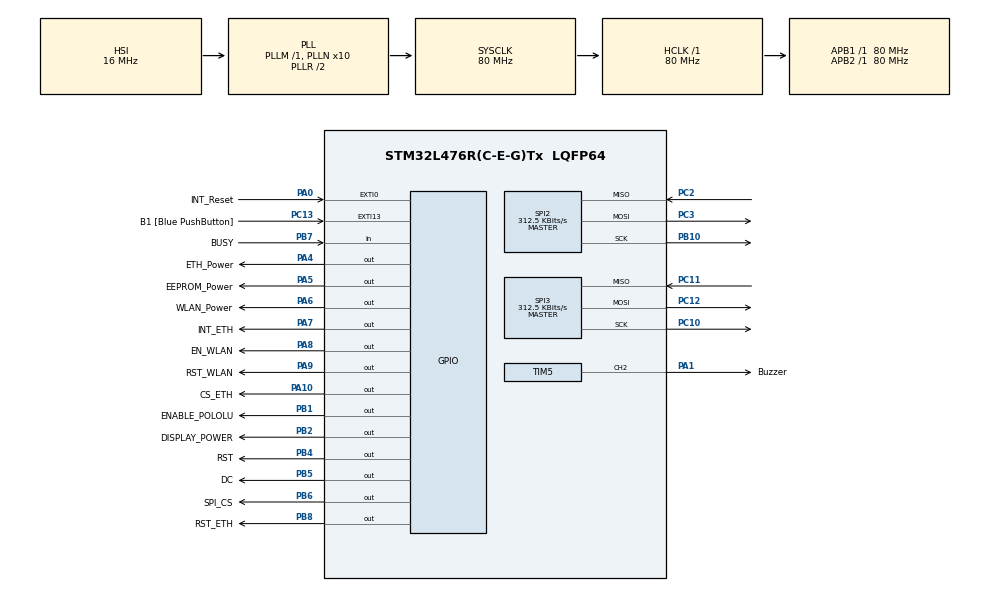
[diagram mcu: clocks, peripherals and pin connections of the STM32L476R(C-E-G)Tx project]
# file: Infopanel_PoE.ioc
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Mcu.Family=STM32L4
Mcu.Name=STM32L476R(C-E-G)Tx
Mcu.Package=LQFP64
NVIC.EXTI0_IRQn=true\:5\:0\:true\:false\:true\:true\:true\:true
NVIC.PriorityGroup=NVIC_PRIORITYGROUP_4
NVIC.SPI2_IRQn=true\:0\:0\:false\:false\:true\:true\:true\:true
NVIC.SPI3_IRQn=true\:0\:0\:false\:false\:true\:true\:true\:true
NVIC.TIM1_BRK_TIM15_IRQn=true\:0\:0\:false\:false\:true\:true\:true\:true
NVIC.TIM2_IRQn=true\:0\:0\:false\:false\:true\:true\:true\:true
NVIC.TIM3_IRQn=true\:0\:0\:false\:false\:true\:true\:true\:true
NVIC.TIM5_IRQn=true\:0\:0\:false\:false\:true\:true\:true\:true
PA0.GPIO_Label=INT_Reset
PA0.Signal=GPXTI0
PA1.GPIO_Label=Buzzer
PA1.Signal=S_TIM5_CH2
PA10.GPIO_Label=CS_ETH
PA10.Signal=GPIO_Output
PA13\ (JTMS-SWDIO).GPIO_Label=TMS
PA13\ (JTMS-SWDIO).Mode=Serial_Wire
PA13\ (JTMS-SWDIO).Signal=SYS_JTMS-SWDIO
PA14\ (JTCK-SWCLK).GPIO_Label=TCK
PA14\ (JTCK-SWCLK).Mode=Serial_Wire
PA14\ (JTCK-SWCLK).Signal=SYS_JTCK-SWCLK
PA2.GPIO_Label=USART_TX
PA2.GPIO_Mode=GPIO_MODE_AF_PP
PA2.GPIO_PuPd=GPIO_NOPULL
PA2.GPIO_Speed=GPIO_SPEED_FREQ_VERY_HIGH
PA2.Signal=USART2_TX
PA3.GPIO_Label=USART_RX
PA3.GPIO_Mode=GPIO_MODE_AF_PP
PA3.GPIO_PuPd=GPIO_NOPULL
PA3.GPIO_Speed=GPIO_SPEED_FREQ_VERY_HIGH
PA3.Signal=USART2_RX
PA4.GPIO_Label=ETH_Power
PA4.Signal=GPIO_Output
PA5.GPIO_Label=EEPROM_Power
PA5.Signal=GPIO_Output
PA6.GPIO_Label=WLAN_Power
PA6.Signal=GPIO_Output
PA7.GPIO_Label=INT_ETH
PA7.Signal=GPIO_Output
PA8.GPIO_Label=EN_WLAN
PA8.Signal=GPIO_Output
PA9.GPIO_Label=RST_WLAN
PA9.Signal=GPIO_Output
PB1.GPIO_Label=ENABLE_POLOLU
PB1.Signal=GPIO_Output
PB10.Mode=Full_Duplex_Master
PB10.Signal=SPI2_SCK
PB2.GPIO_Label=DISPLAY_POWER
PB2.Signal=GPIO_Output
PB3\ (JTDO-TRACESWO).GPIO_Label=SWO
PB3\ (JTDO-TRACESWO).Signal=SYS_JTDO-SWO
PB4\ (NJTRST).GPIO_Label=RST
PB4\ (NJTRST).Signal=GPIO_Output
PB5.GPIO_Label=DC
PB5.Signal=GPIO_Output
PB6.GPIO_Label=SPI_CS
PB6.Signal=GPIO_Output
PB7.GPIO_Label=BUSY
PB7.Signal=GPIO_Input
PB8.GPIO_Label=RST_ETH
PB8.Signal=GPIO_Output
PC10.Mode=Full_Duplex_Master
PC10.Signal=SPI3_SCK
PC11.Mode=Full_Duplex_Master
PC11.Signal=SPI3_MISO
PC12.Mode=Full_Duplex_Master
PC12.Signal=SPI3_MOSI
PC13.GPIO_Label=B1 [Blue PushButton]
PC13.GPIO_ModeDefaultEXTI=GPIO_MODE_IT_FALLING
PC13.GPIO_PuPd=GPIO_NOPULL
PC13.Signal=GPXTI13
PC14-OSC32_IN\ (PC14).Mode=LSE-External-Oscillator
PC14-OSC32_IN\ (PC14).Signal=RCC_OSC32_IN
PC15-OSC32_OUT\ (PC15).Mode=LSE-External-Oscillator
PC15-OSC32_OUT\ (PC15).Signal=RCC_OSC32_OUT
PC2.Mode=Full_Duplex_Master
PC2.Signal=SPI2_MISO
PC3.Mode=Full_Duplex_Master
PC3.Signal=SPI2_MOSI
PH0-OSC_IN\ (PH0).Signal=RCC_OSC_IN
PH1-OSC_OUT\ (PH1).Signal=RCC_OSC_OUT
ProjectManager.HeapSize=0x200
ProjectManager.StackSize=0x400
ProjectManager.TargetToolchain=STM32CubeIDE
RCC.ADCFreq_Value=64000000
RCC.AHBFreq_Value=80000000
RCC.APB1Freq_Value=80000000
RCC.APB1TimFreq_Value=80000000
RCC.APB2Freq_Value=80000000
RCC.APB2TimFreq_Value=80000000
RCC.CortexFreq_Value=80000000
RCC.HCLKFreq_Value=80000000
RCC.HSE_VALUE=8000000
RCC.HSI_VALUE=16000000
RCC.MSI_VALUE=4000000
RCC.PLLN=10
RCC.PLLSourceVirtual=RCC_PLLSOURCE_HSI
RCC.PREFETCH_ENABLE=1
RCC.SYSCLKFreq_VALUE=80000000
RCC.SYSCLKSource=RCC_SYSCLKSOURCE_PLLCLK
RCC.USBFreq_Value=64000000
RCC.VCOOutputFreq_Value=160000000
SH.S_TIM5_CH2.0=TIM5_CH2,PWM Generation2 CH2
SPI2.BaudRatePrescaler=SPI_BAUDRATEPRESCALER_256
SPI2.CalculateBaudRate=312.5 KBits/s
SPI2.DataSize=SPI_DATASIZE_8BIT
SPI2.Direction=SPI_DIRECTION_2LINES
SPI2.Mode=SPI_MODE_MASTER
SPI2.VirtualType=VM_MASTER
SPI3.BaudRatePrescaler=SPI_BAUDRATEPRESCALER_256
SPI3.CalculateBaudRate=312.5 KBits/s
SPI3.DataSize=SPI_DATASIZE_8BIT
SPI3.Direction=SPI_DIRECTION_2LINES
SPI3.Mode=SPI_MODE_MASTER
SPI3.VirtualType=VM_MASTER
TIM1.Period=1000
TIM1.Prescaler=1
TIM2.Period=900000000
TIM2.Prescaler=80
TIM3.Period=100
TIM5.Channel-PWM\ Generation2\ CH2=TIM_CHANNEL_2
TIM5.Period=1000-1
TIM5.Prescaler=40-1
TIM5.Pulse-PWM\ Generation2\ CH2=500
VP_RTC_VS_RTC_Activate.Mode=RTC_Enabled
VP_TIM1_VS_ClockSourceINT.Mode=Internal
VP_TIM2_VS_ClockSourceINT.Mode=Internal
VP_TIM3_VS_ClockSourceINT.Mode=Internal
VP_TIM5_VS_ClockSourceINT.Mode=Internal
board=NUCLEO-L476RG

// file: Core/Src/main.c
/* USER CODE BEGIN Header */
/**
  ******************************************************************************
  * @file           : main.c
  * @brief          : Main program body
  ******************************************************************************
  * @attention
  *
  * Copyright (c) 2023 STMicroelectronics.
  * All rights reserved.
  *
  * This software is licensed under terms that can be found in the LICENSE file
  * in the root directory of this software component.
  * If no LICENSE file comes with this software, it is provided AS-IS.
  *
  ******************************************************************************
  */
/* USER CODE END Header */
#include "main.h"

/* USER CODE BEGIN Includes */

#include <stdio.h>
#include "string.h"
#include "stdlib.h"
#include "stm32l4xx_hal.h"
#include "EPD_7in5_V2.h"
#include "GUI_Paint.h"
#include "../../Fonts/fonts.h"
#include "skins.h"
#include "communication.h"
#include "device.h"

/* USER CODE END Includes */

RTC_HandleTypeDef hrtc;

SPI_HandleTypeDef hspi2;
SPI_HandleTypeDef hspi3;

TIM_HandleTypeDef htim1;
TIM_HandleTypeDef htim2;
TIM_HandleTypeDef htim3;
TIM_HandleTypeDef htim5;

void SystemClock_Config(void);
static void MX_GPIO_Init(void);
static void MX_SPI2_Init(void);
static void MX_SPI3_Init(void);
static void MX_RTC_Init(void);
static void MX_TIM1_Init(void);
static void MX_TIM2_Init(void);
static void MX_TIM3_Init(void);
static void MX_TIM5_Init(void);

/* USER CODE BEGIN 0 */
int i = 0;

/* USER CODE END 0 */

int main(void)
{

  /* MCU Configuration--------------------------------------------------------*/

  /* Reset of all peripherals, Initializes the Flash interface and the Systick. */
  HAL_Init();

  /* Configure the system clock */
  SystemClock_Config();

  /* Initialize all configured peripherals */
  MX_GPIO_Init();
  MX_SPI2_Init();
  MX_SPI3_Init();
  MX_RTC_Init();
  MX_TIM1_Init();
  MX_TIM2_Init();
  MX_TIM3_Init();
  MX_TIM5_Init();
  /* USER CODE BEGIN 2 */
  HAL_GPIO_WritePin(WLAN_Power_GPIO_Port, WLAN_Power_Pin, 1);
  HAL_Delay(10);
  __HAL_TIM_CLEAR_FLAG(&htim2, TIM_FLAG_UPDATE);

  HAL_TIM_Base_Start_IT(&htim2);

  //
  HAL_PWR_EnableBkUpAccess(); // Zugriff auf Backup-Register aktivieren
  if (HAL_RTCEx_BKUPRead(&hrtc, RTC_BKP_DR1) == 0x1234)
  {
	  Buzzer(200);
	  HAL_RTCEx_BKUPWrite(&hrtc, RTC_BKP_DR1, 0x0);
  }

  HAL_GPIO_WritePin(RST_ETH_GPIO_Port, RST_ETH_Pin, 0);
  HAL_GPIO_WritePin(ETH_Power_GPIO_Port, ETH_Power_Pin, 1);
  HAL_Delay(500);
  HAL_GPIO_WritePin(ETH_Power_GPIO_Port, ETH_Power_Pin, 0);
  HAL_GPIO_WritePin(EEPROM_Power_GPIO_Port, EEPROM_Power_Pin, 0);

  u8Init_Ethernet();
  HAL_Delay(100);
  /* USER CODE END 2 */

  /* Infinite loop */
  while (1)
  {

    /* USER CODE BEGIN 3 */
	u8Connection_Loop();
  }
  /* USER CODE END 3 */
}

void SystemClock_Config(void)
{
  RCC_OscInitTypeDef RCC_OscInitStruct = {0};
  RCC_ClkInitTypeDef RCC_ClkInitStruct = {0};

  /** Configure the main internal regulator output voltage
  */
  if (HAL_PWREx_ControlVoltageScaling(PWR_REGULATOR_VOLTAGE_SCALE1) != HAL_OK)
  {
    Error_Handler();
  }

  /** Initializes the RCC Oscillators according to the specified parameters
  * in the RCC_OscInitTypeDef structure.
  */
  RCC_OscInitStruct.OscillatorType = RCC_OSCILLATORTYPE_HSI|RCC_OSCILLATORTYPE_LSI;
  RCC_OscInitStruct.HSIState = RCC_HSI_ON;
  RCC_OscInitStruct.HSICalibrationValue = RCC_HSICALIBRATION_DEFAULT;
  RCC_OscInitStruct.LSIState = RCC_LSI_ON;
  RCC_OscInitStruct.PLL.PLLState = RCC_PLL_ON;
  RCC_OscInitStruct.PLL.PLLSource = RCC_PLLSOURCE_HSI;
  RCC_OscInitStruct.PLL.PLLM = 1;
  RCC_OscInitStruct.PLL.PLLN = 10;
  RCC_OscInitStruct.PLL.PLLP = RCC_PLLP_DIV7;
  RCC_OscInitStruct.PLL.PLLQ = RCC_PLLQ_DIV2;
  RCC_OscInitStruct.PLL.PLLR = RCC_PLLR_DIV2;
  if (HAL_RCC_OscConfig(&RCC_OscInitStruct) != HAL_OK)
  {
    Error_Handler();
  }

  /** Initializes the CPU, AHB and APB buses clocks
  */
  RCC_ClkInitStruct.ClockType = RCC_CLOCKTYPE_HCLK|RCC_CLOCKTYPE_SYSCLK
                              |RCC_CLOCKTYPE_PCLK1|RCC_CLOCKTYPE_PCLK2;
  RCC_ClkInitStruct.SYSCLKSource = RCC_SYSCLKSOURCE_PLLCLK;
  RCC_ClkInitStruct.AHBCLKDivider = RCC_SYSCLK_DIV1;
  RCC_ClkInitStruct.APB1CLKDivider = RCC_HCLK_DIV1;
  RCC_ClkInitStruct.APB2CLKDivider = RCC_HCLK_DIV1;

  if (HAL_RCC_ClockConfig(&RCC_ClkInitStruct, FLASH_LATENCY_4) != HAL_OK)
  {
    Error_Handler();
  }
}

static void MX_RTC_Init(void)
{

  /** Initialize RTC Only
  */
  hrtc.Instance = RTC;
  hrtc.Init.HourFormat = RTC_HOURFORMAT_24;
  hrtc.Init.AsynchPrediv = 127;
  hrtc.Init.SynchPrediv = 255;
  hrtc.Init.OutPut = RTC_OUTPUT_DISABLE;
  hrtc.Init.OutPutRemap = RTC_OUTPUT_REMAP_NONE;
  hrtc.Init.OutPutPolarity = RTC_OUTPUT_POLARITY_HIGH;
  hrtc.Init.OutPutType = RTC_OUTPUT_TYPE_OPENDRAIN;
  if (HAL_RTC_Init(&hrtc) != HAL_OK)
  {
    Error_Handler();
  }

}

static void MX_SPI2_Init(void)
{

  /* SPI2 parameter configuration*/
  hspi2.Instance = SPI2;
  hspi2.Init.Mode = SPI_MODE_MASTER;
  hspi2.Init.Direction = SPI_DIRECTION_2LINES;
  hspi2.Init.DataSize = SPI_DATASIZE_8BIT;
  hspi2.Init.CLKPolarity = SPI_POLARITY_LOW;
  hspi2.Init.CLKPhase = SPI_PHASE_1EDGE;
  hspi2.Init.NSS = SPI_NSS_SOFT;
  hspi2.Init.BaudRatePrescaler = SPI_BAUDRATEPRESCALER_256;
  hspi2.Init.FirstBit = SPI_FIRSTBIT_MSB;
  hspi2.Init.TIMode = SPI_TIMODE_DISABLE;
  hspi2.Init.CRCCalculation = SPI_CRCCALCULATION_DISABLE;
  hspi2.Init.CRCPolynomial = 7;
  hspi2.Init.CRCLength = SPI_CRC_LENGTH_DATASIZE;
  hspi2.Init.NSSPMode = SPI_NSS_PULSE_ENABLE;
  if (HAL_SPI_Init(&hspi2) != HAL_OK)
  {
    Error_Handler();
  }

}

static void MX_SPI3_Init(void)
{

  /* SPI3 parameter configuration*/
  hspi3.Instance = SPI3;
  hspi3.Init.Mode = SPI_MODE_MASTER;
  hspi3.Init.Direction = SPI_DIRECTION_2LINES;
  hspi3.Init.DataSize = SPI_DATASIZE_8BIT;
  hspi3.Init.CLKPolarity = SPI_POLARITY_LOW;
  hspi3.Init.CLKPhase = SPI_PHASE_1EDGE;
  hspi3.Init.NSS = SPI_NSS_SOFT;
  hspi3.Init.BaudRatePrescaler = SPI_BAUDRATEPRESCALER_256;
  hspi3.Init.FirstBit = SPI_FIRSTBIT_MSB;
  hspi3.Init.TIMode = SPI_TIMODE_DISABLE;
  hspi3.Init.CRCCalculation = SPI_CRCCALCULATION_DISABLE;
  hspi3.Init.CRCPolynomial = 7;
  hspi3.Init.CRCLength = SPI_CRC_LENGTH_DATASIZE;
  hspi3.Init.NSSPMode = SPI_NSS_PULSE_ENABLE;
  if (HAL_SPI_Init(&hspi3) != HAL_OK)
  {
    Error_Handler();
  }

}

static void MX_TIM1_Init(void)
{

  TIM_ClockConfigTypeDef sClockSourceConfig = {0};
  TIM_MasterConfigTypeDef sMasterConfig = {0};

  htim1.Instance = TIM1;
  htim1.Init.Prescaler = 1;
  htim1.Init.CounterMode = TIM_COUNTERMODE_UP;
  htim1.Init.Period = 1000;
  htim1.Init.ClockDivision = TIM_CLOCKDIVISION_DIV1;
  htim1.Init.RepetitionCounter = 0;
  htim1.Init.AutoReloadPreload = TIM_AUTORELOAD_PRELOAD_DISABLE;
  if (HAL_TIM_Base_Init(&htim1) != HAL_OK)
  {
    Error_Handler();
  }
  sClockSourceConfig.ClockSource = TIM_CLOCKSOURCE_INTERNAL;
  if (HAL_TIM_ConfigClockSource(&htim1, &sClockSourceConfig) != HAL_OK)
  {
    Error_Handler();
  }
  sMasterConfig.MasterOutputTrigger = TIM_TRGO_RESET;
  sMasterConfig.MasterOutputTrigger2 = TIM_TRGO2_RESET;
  sMasterConfig.MasterSlaveMode = TIM_MASTERSLAVEMODE_DISABLE;
  if (HAL_TIMEx_MasterConfigSynchronization(&htim1, &sMasterConfig) != HAL_OK)
  {
    Error_Handler();
  }

}

static void MX_TIM2_Init(void)
{

  TIM_ClockConfigTypeDef sClockSourceConfig = {0};
  TIM_MasterConfigTypeDef sMasterConfig = {0};

  htim2.Instance = TIM2;
  htim2.Init.Prescaler = 80;
  htim2.Init.CounterMode = TIM_COUNTERMODE_UP;
  htim2.Init.Period = 900000000;
  htim2.Init.ClockDivision = TIM_CLOCKDIVISION_DIV1;
  htim2.Init.AutoReloadPreload = TIM_AUTORELOAD_PRELOAD_DISABLE;
  if (HAL_TIM_Base_Init(&htim2) != HAL_OK)
  {
    Error_Handler();
  }
  sClockSourceConfig.ClockSource = TIM_CLOCKSOURCE_INTERNAL;
  if (HAL_TIM_ConfigClockSource(&htim2, &sClockSourceConfig) != HAL_OK)
  {
    Error_Handler();
  }
  sMasterConfig.MasterOutputTrigger = TIM_TRGO_RESET;
  sMasterConfig.MasterSlaveMode = TIM_MASTERSLAVEMODE_DISABLE;
  if (HAL_TIMEx_MasterConfigSynchronization(&htim2, &sMasterConfig) != HAL_OK)
  {
    Error_Handler();
  }

}

static void MX_TIM3_Init(void)
{

  TIM_ClockConfigTypeDef sClockSourceConfig = {0};
  TIM_MasterConfigTypeDef sMasterConfig = {0};

  htim3.Instance = TIM3;
  htim3.Init.Prescaler = 0;
  htim3.Init.CounterMode = TIM_COUNTERMODE_UP;
  htim3.Init.Period = 100;
  htim3.Init.ClockDivision = TIM_CLOCKDIVISION_DIV1;
  htim3.Init.AutoReloadPreload = TIM_AUTORELOAD_PRELOAD_DISABLE;
  if (HAL_TIM_Base_Init(&htim3) != HAL_OK)
  {
    Error_Handler();
  }
  sClockSourceConfig.ClockSource = TIM_CLOCKSOURCE_INTERNAL;
  if (HAL_TIM_ConfigClockSource(&htim3, &sClockSourceConfig) != HAL_OK)
  {
    Error_Handler();
  }
  sMasterConfig.MasterOutputTrigger = TIM_TRGO_RESET;
  sMasterConfig.MasterSlaveMode = TIM_MASTERSLAVEMODE_DISABLE;
  if (HAL_TIMEx_MasterConfigSynchronization(&htim3, &sMasterConfig) != HAL_OK)
  {
    Error_Handler();
  }

}

static void MX_TIM5_Init(void)
{

  TIM_ClockConfigTypeDef sClockSourceConfig = {0};
  TIM_MasterConfigTypeDef sMasterConfig = {0};
  TIM_OC_InitTypeDef sConfigOC = {0};

  htim5.Instance = TIM5;
  htim5.Init.Prescaler = 40-1;
  htim5.Init.CounterMode = TIM_COUNTERMODE_UP;
  htim5.Init.Period = 1000-1;
  htim5.Init.ClockDivision = TIM_CLOCKDIVISION_DIV1;
  htim5.Init.AutoReloadPreload = TIM_AUTORELOAD_PRELOAD_DISABLE;
  if (HAL_TIM_Base_Init(&htim5) != HAL_OK)
  {
    Error_Handler();
  }
  sClockSourceConfig.ClockSource = TIM_CLOCKSOURCE_INTERNAL;
  if (HAL_TIM_ConfigClockSource(&htim5, &sClockSourceConfig) != HAL_OK)
  {
    Error_Handler();
  }
  if (HAL_TIM_PWM_Init(&htim5) != HAL_OK)
  {
    Error_Handler();
  }
  sMasterConfig.MasterOutputTrigger = TIM_TRGO_RESET;
  sMasterConfig.MasterSlaveMode = TIM_MASTERSLAVEMODE_DISABLE;
  if (HAL_TIMEx_MasterConfigSynchronization(&htim5, &sMasterConfig) != HAL_OK)
  {
    Error_Handler();
  }
  sConfigOC.OCMode = TIM_OCMODE_PWM1;
  sConfigOC.Pulse = 500;
  sConfigOC.OCPolarity = TIM_OCPOLARITY_HIGH;
  sConfigOC.OCFastMode = TIM_OCFAST_DISABLE;
  if (HAL_TIM_PWM_ConfigChannel(&htim5, &sConfigOC, TIM_CHANNEL_2) != HAL_OK)
  {
    Error_Handler();
  }
  HAL_TIM_MspPostInit(&htim5);

}

static void MX_GPIO_Init(void)
{
  GPIO_InitTypeDef GPIO_InitStruct = {0};

  /* GPIO Ports Clock Enable */
  __HAL_RCC_GPIOC_CLK_ENABLE();
  __HAL_RCC_GPIOH_CLK_ENABLE();
  __HAL_RCC_GPIOA_CLK_ENABLE();
  __HAL_RCC_GPIOB_CLK_ENABLE();

  /*Configure GPIO pin Output Level */
  HAL_GPIO_WritePin(GPIOA, ETH_Power_Pin|EEPROM_Power_Pin|WLAN_Power_Pin|INT_ETH_Pin
                          |EN_WLAN_Pin|RST_WLAN_Pin|CS_ETH_Pin, GPIO_PIN_RESET);

  /*Configure GPIO pin Output Level */
  HAL_GPIO_WritePin(GPIOB, ENABLE_POLOLU_Pin|DISPLAY_POWER_Pin|RST_Pin|DC_Pin
                          |SPI_CS_Pin|RST_ETH_Pin, GPIO_PIN_RESET);

  /*Configure GPIO pin : B1_Pin */
  GPIO_InitStruct.Pin = B1_Pin;
  GPIO_InitStruct.Mode = GPIO_MODE_IT_FALLING;
  GPIO_InitStruct.Pull = GPIO_NOPULL;
  HAL_GPIO_Init(B1_GPIO_Port, &GPIO_InitStruct);

  /*Configure GPIO pin : INT_Reset_Pin */
  GPIO_InitStruct.Pin = INT_Reset_Pin;
  GPIO_InitStruct.Mode = GPIO_MODE_IT_RISING;
  GPIO_InitStruct.Pull = GPIO_NOPULL;
  HAL_GPIO_Init(INT_Reset_GPIO_Port, &GPIO_InitStruct);

  /*Configure GPIO pins : USART_TX_Pin USART_RX_Pin */
  GPIO_InitStruct.Pin = USART_TX_Pin|USART_RX_Pin;
  GPIO_InitStruct.Mode = GPIO_MODE_AF_PP;
  GPIO_InitStruct.Pull = GPIO_NOPULL;
  GPIO_InitStruct.Speed = GPIO_SPEED_FREQ_VERY_HIGH;
  GPIO_InitStruct.Alternate = GPIO_AF7_USART2;
  HAL_GPIO_Init(GPIOA, &GPIO_InitStruct);

  /*Configure GPIO pins : ETH_Power_Pin EEPROM_Power_Pin WLAN_Power_Pin INT_ETH_Pin
                           EN_WLAN_Pin RST_WLAN_Pin CS_ETH_Pin */
  GPIO_InitStruct.Pin = ETH_Power_Pin|EEPROM_Power_Pin|WLAN_Power_Pin|INT_ETH_Pin
                          |EN_WLAN_Pin|RST_WLAN_Pin|CS_ETH_Pin;
  GPIO_InitStruct.Mode = GPIO_MODE_OUTPUT_PP;
  GPIO_InitStruct.Pull = GPIO_NOPULL;
  GPIO_InitStruct.Speed = GPIO_SPEED_FREQ_LOW;
  HAL_GPIO_Init(GPIOA, &GPIO_InitStruct);

  /*Configure GPIO pins : ENABLE_POLOLU_Pin DISPLAY_POWER_Pin RST_Pin DC_Pin
                           SPI_CS_Pin RST_ETH_Pin */
  GPIO_InitStruct.Pin = ENABLE_POLOLU_Pin|DISPLAY_POWER_Pin|RST_Pin|DC_Pin
                          |SPI_CS_Pin|RST_ETH_Pin;
  GPIO_InitStruct.Mode = GPIO_MODE_OUTPUT_PP;
  GPIO_InitStruct.Pull = GPIO_NOPULL;
  GPIO_InitStruct.Speed = GPIO_SPEED_FREQ_LOW;
  HAL_GPIO_Init(GPIOB, &GPIO_InitStruct);

  /*Configure GPIO pin : BUSY_Pin */
  GPIO_InitStruct.Pin = BUSY_Pin;
  GPIO_InitStruct.Mode = GPIO_MODE_INPUT;
  GPIO_InitStruct.Pull = GPIO_NOPULL;
  HAL_GPIO_Init(BUSY_GPIO_Port, &GPIO_InitStruct);

  /* EXTI interrupt init*/
  HAL_NVIC_SetPriority(EXTI0_IRQn, 5, 0);
  HAL_NVIC_EnableIRQ(EXTI0_IRQn);

}

/* USER CODE BEGIN 4 */

/*
void vPrint_Demo1(uint8_t* u8String)
{
	//HAL_GPIO_WritePin(PWR_Display_GPIO_Port, PWR_Display_Pin, 1);
	char cADC[10] = {0};
	//sprintf(cADC, "%.2fV", (u16BatteryVoltage()/1000.0));
	static uint16_t u16Counter = 0;
	char cString[5] = {0};

	sprintf(cString, "%4d", u16Counter);

	UBYTE *BlackImage;

	BlackImage = (UBYTE *)malloc(4736U);

	Paint_NewImage(BlackImage, EPD_7IN5_V2_WIDTH, EPD_7IN5_V2_HEIGHT, 0, WHITE);
	Paint_SelectImage(BlackImage);
	Paint_Clear(WHITE);

	Paint_DrawRectangle(0, 0, EPD_7IN5_V2_WIDTH, 115, BLACK, DOT_PIXEL_1X1, DRAW_FILL_FULL);
	Paint_DrawLine(0, 119, EPD_7IN5_V2_WIDTH, 119, BLACK, DOT_PIXEL_4X4, LINE_STYLE_SOLID);
	Paint_DrawLine(0, 126, EPD_7IN5_V2_WIDTH, 126, BLACK, DOT_PIXEL_2X2, LINE_STYLE_SOLID);

	Paint_DrawBitMap_Paste(HS_80x80, 360, 20, 80, 80, WHITE);
	Paint_DrawString_EN(440, 30, "Hochschule Offenburg", &Font24, BLACK, WHITE);
	Paint_DrawString_EN(440,60, "offenburg.university", &Font24, BLACK, WHITE);

	Paint_DrawBitMap_Paste(B101_310x100, 5, 5, 310, 100, WHITE);
	//Name
	uint8_t u8String_Name[20] = {0};
	vStringNr(0, u8String, u8String_Name);
	Paint_DrawString_EN(15, 140, (char *)u8String_Name, &Font24, WHITE, BLACK);
	//Function
	uint8_t u8String_Func[20] = {0};
	vStringNr(1, u8String, u8String_Func);
	Paint_DrawString_EN(15, 180, (char *)u8String_Func, &Font24, WHITE, BLACK);

	Paint_DrawLine(0, 220, EPD_7IN5_V2_WIDTH, 220, BLACK, DOT_PIXEL_4X4, LINE_STYLE_SOLID);
	Paint_DrawLine(0, 227, EPD_7IN5_V2_WIDTH, 227, BLACK, DOT_PIXEL_2X2, LINE_STYLE_SOLID);

	//Punkt1
	uint8_t u8String_P1[20] = {0};
	vStringNr(2, u8String, u8String_P1);
	Paint_DrawString_EN(15, 240, (char *)u8String_P1, &Font24, WHITE, BLACK);
	//Punkt2
	uint8_t u8String_P2[20] = {0};
	vStringNr(3, u8String, u8String_P2);
	Paint_DrawString_EN(15, 280, (char *)u8String_P2, &Font24, WHITE, BLACK);

	Paint_DrawRectangle(0, 320, 560, 480, BLACK, DOT_PIXEL_1X1, DRAW_FILL_FULL);
	Paint_DrawLine(0, 362, 560, 362, WHITE, DOT_PIXEL_2X2, LINE_STYLE_SOLID);
	Paint_DrawLine(559, 220, 559, 330, BLACK, DOT_PIXEL_2X2, LINE_STYLE_SOLID);

	//Aktuelle Information
	uint8_t u8String_Info[20] = {0};
	vStringNr(4, u8String, u8String_Info);
	Paint_DrawString_EN(15, 330, (char *)u8String_Info, &Font24, WHITE, WHITE);

	//Info1
	uint8_t u8String_Info1[20] = {0};
	vStringNr(5, u8String, u8String_Info1);
	Paint_DrawString_EN(15, 370, (char *)u8String_Info1, &Font24, WHITE, WHITE);

	Paint_DrawBitMap_Paste(Chip_240x240, 560, 240, 240, 240, BLACK);
	Paint_DrawString_EN(760, 465, cString, &Font12, WHITE, BLACK);

	//ADC Battery
	//Paint_DrawString_EN(500, 460, (char *)cADC, &Font16, WHITE, WHITE);

	EPD_7IN5_V2_Display(BlackImage);

	//HAL_GPIO_WritePin(RST_GPIO_Port, RST_Pin, 0);
	//HAL_GPIO_WritePin(DC_GPIO_Port, DC_Pin, 0);
	//HAL_GPIO_WritePin(SPI_CS_GPIO_Port, SPI_CS_Pin, 0);
	u16Counter++;
	free(BlackImage);
}*/

/* USER CODE END 4 */

void Error_Handler(void)
{
  __disable_irq();
  while (1)
  {
  }
}
